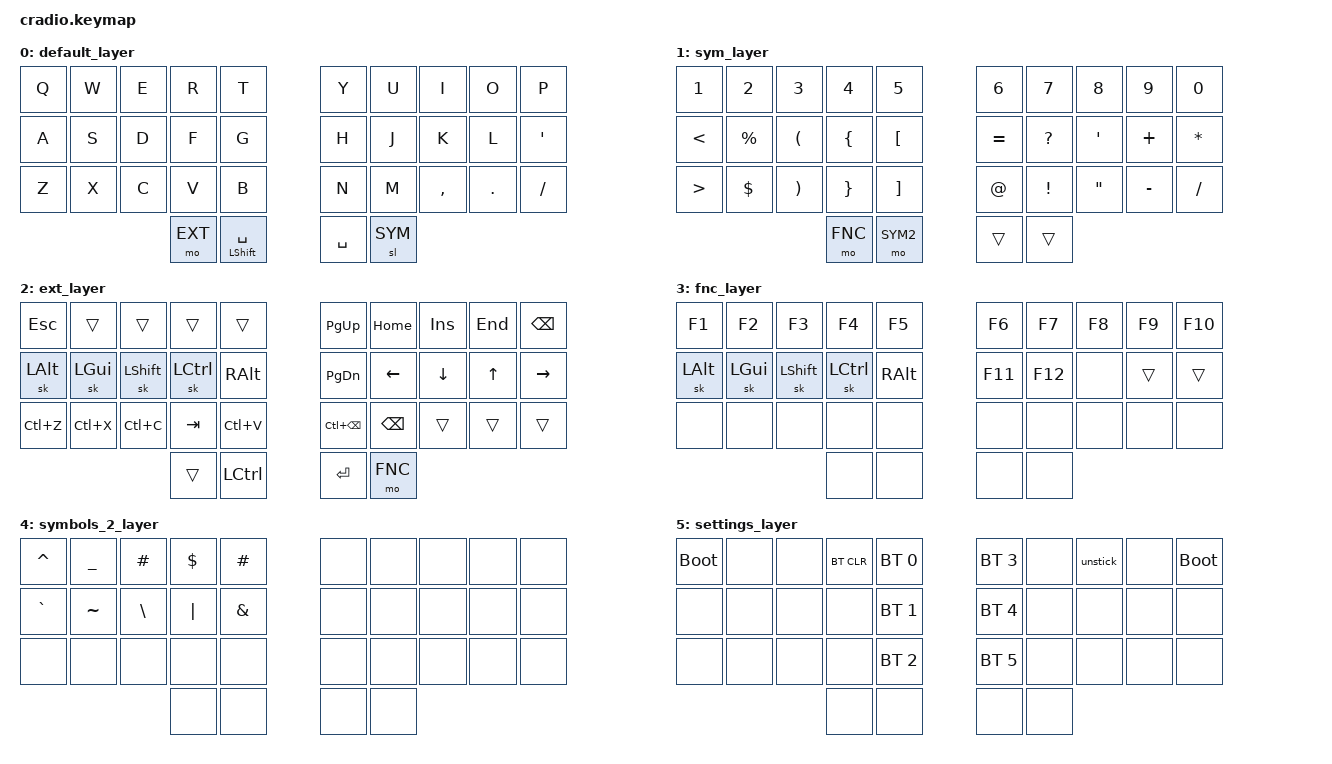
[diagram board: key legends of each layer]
/*
 * Copyright (c) 2020 The ZMK Contributors
 *
 * SPDX-License-Identifier: MIT
 */

#include <behaviors.dtsi>
#include <dt-bindings/zmk/keys.h>
#include <dt-bindings/zmk/bt.h>

#define BASE 0
#define SYM 1
#define EXT 2
#define FNC 3
#define SYM2 4
#define ACCENT 5
#define SETTINGS 6// -----------------

&mt {
    //  flavor = "tap-preferred";
    // tapping_term_ms = <200>;
};

&sk {
    ignore-modifiers;
};

/ {
    macros {
        // sometimes my device thinks a modifier is being held down
        // pressing all modifiers fixes it.

        unstick: unstick {
            label = "ZM_unstick";
            compatible = "zmk,behavior-macro";
            #binding-cells = <0>;
            bindings = <&kp LSHIFT &kp RSHIFT &kp LCTRL &kp RCTRL &kp LALT &kp RALT &kp LGUI &kp RGUI>;
        };
    };

    combos {
        compatible = "zmk,combos";

        // both right thumb keys
        // internal-left & external-right thumb keys

        combo_sym2 {
            timeout-ms = <200>;
            key-positions = <31 33>;
            bindings = <&mo SYM2>;
        };

        // both left thumb keys

        combo_settings {
            timeout-ms = <300>;
            key-positions = <30 31>;
            bindings = <&mo SETTINGS>;
        };

        combo_backspace {
            bindings = <&kp BACKSPACE>;
            key-positions = <8 9>;
        };

        combo_tab {
            bindings = <&kp TAB>;
            key-positions = <10 11>;
        };
    };

    keymap {
        compatible = "zmk,keymap";

        // Base alpha layer

        default_layer {
            bindings = <
  &kp Q   &kp W   &kp E   &kp R             &kp T      &kp Y   &kp U      &kp I    &kp O             &kp P
  &kp A   &kp S   &kp D   &kp F             &kp G      &kp H   &kp J      &kp K    &kp L  &kp SINGLE_QUOTE
  &kp Z   &kp X   &kp C   &kp V             &kp B      &kp N   &kp M  &kp COMMA  &kp DOT         &kp SLASH
                          &mo EXT  &mt LSHIFT SPACE  &kp SPACE   &sl SYM
            >;
        };

        // Numbers and high frequency symbols

        sym_layer {
            bindings = <
           &kp N1       &kp N2                 &kp N3           &kp N4             &kp N5     &kp N6           &kp N7             &kp N8     &kp N9     &kp N0
    &kp LESS_THAN  &kp PERCENT   &kp LEFT_PARENTHESIS   &kp LEFT_BRACE   &kp LEFT_BRACKET  &kp EQUAL     &kp QUESTION   &kp SINGLE_QUOTE   &kp PLUS   &kp STAR
 &kp GREATER_THAN   &kp DOLLAR  &kp RIGHT_PARENTHESIS  &kp RIGHT_BRACE  &kp RIGHT_BRACKET     &kp AT  &kp EXCLAMATION  &kp DOUBLE_QUOTES  &kp MINUS  &kp SLASH
                                                                 &mo FNC              &mo SYM2     &trans           &trans
            >;
        };

        // Main modifiers and arrow keys

        ext_layer {
            bindings = <
   &kp ESC     &trans      &trans     &trans     &trans     &kp PG_UP  &kp HOME  &kp INSERT  &kp END      &kp BACKSPACE
  &sk LALT   &sk LGUI  &sk LSHIFT  &sk LCTRL   &kp RALT     &kp PG_DN  &kp LEFT    &kp DOWN   &kp UP  &kp RIGHT
 &kp LC(Z)  &kp LC(X)   &kp LC(C)    &kp TAB  &kp LC(V)  &kp LC(BSPC)  &kp BSPC      &trans   &trans     &trans
                                      &trans  &kp LCTRL     &kp ENTER     &mo FNC
            >;
        };

        // Function keys with modifiers

        fnc_layer {
            bindings = <
   &kp F1    &kp F2      &kp F3     &kp F4    &kp F5   &kp F6   &kp F7  &kp F8  &kp F9  &kp F10
 &sk LALT  &sk LGUI  &sk LSHIFT  &sk LCTRL  &kp RALT  &kp F11  &kp F12   &none  &trans   &trans
    &none     &none       &none      &none     &none    &none    &none   &none   &none    &none
                                     &none     &none    &none    &none
            >;
        };

        // Low frequency symbols.

        symbols_2_layer {
            bindings = <
 &kp CARET  &kp UNDERSCORE      &kp POUND  &kp DOLLAR       &kp HASH   &none   &none   &none   &none   &none
 &kp GRAVE       &kp TILDE  &kp BACKSLASH    &kp PIPE  &kp AMPERSAND   &none   &none   &none   &none   &none
     &none           &none   &none     &none     &none   &none   &none   &none   &none   &none
                                                &none          &none   &none   &none
            >;
        };

        // Used to type regional accents.
        // Used to change the keyboard's settings.

        settings_layer {
            bindings = <
 &bootloader   &none   &none  &bt BT_CLR  &bt BT_SEL 0  &bt BT_SEL 3   &none  &unstick   &none  &bootloader
       &none   &none   &none       &none  &bt BT_SEL 1  &bt BT_SEL 4   &none     &none   &none        &none
       &none   &none   &none       &none  &bt BT_SEL 2  &bt BT_SEL 5   &none     &none   &none        &none
                                   &none         &none         &none   &none
            >;
        };
    };
};
